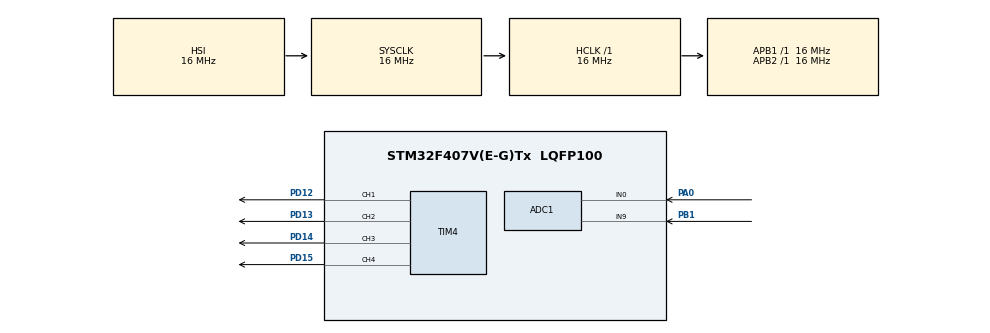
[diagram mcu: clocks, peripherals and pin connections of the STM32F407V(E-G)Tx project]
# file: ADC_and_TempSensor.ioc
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ADC1.Channel-0\#ChannelRegularConversion=ADC_CHANNEL_0
ADC1.ContinuousConvMode=ENABLE
ADC1.NbrOfConversionFlag=1
ADC1.Rank-0\#ChannelRegularConversion=1
ADC1.SamplingTime-0\#ChannelRegularConversion=ADC_SAMPLETIME_480CYCLES
ADC1.master=1
Mcu.Family=STM32F4
Mcu.Name=STM32F407V(E-G)Tx
Mcu.Package=LQFP100
NVIC.PriorityGroup=NVIC_PRIORITYGROUP_4
PA0-WKUP.Signal=ADCx_IN0
PB1.Signal=ADCx_IN9
PD12.Signal=S_TIM4_CH1
PD13.Signal=S_TIM4_CH2
PD14.Signal=S_TIM4_CH3
PD15.Signal=S_TIM4_CH4
ProjectManager.HeapSize=0x200
ProjectManager.StackSize=0x400
ProjectManager.TargetToolchain=STM32CubeIDE
RCC.AHBFreq_Value=16000000
RCC.APB1Freq_Value=16000000
RCC.APB2Freq_Value=16000000
RCC.CortexFreq_Value=16000000
RCC.HSE_VALUE=25000000
RCC.HSI_VALUE=16000000
RCC.LSE_VALUE=32768
RCC.SYSCLKFreq_VALUE=16000000
RCC.VCOOutputFreq_Value=192000000
SH.ADCx_IN0.0=ADC1_IN0,IN0
SH.ADCx_IN9.0=ADC1_IN9,IN9
SH.S_TIM4_CH1.0=TIM4_CH1,PWM Generation1 CH1
SH.S_TIM4_CH2.0=TIM4_CH2,PWM Generation2 CH2
SH.S_TIM4_CH3.0=TIM4_CH3,PWM Generation3 CH3
SH.S_TIM4_CH4.0=TIM4_CH4,PWM Generation4 CH4
TIM4.Channel-PWM\ Generation1\ CH1=TIM_CHANNEL_1
TIM4.Channel-PWM\ Generation2\ CH2=TIM_CHANNEL_2
TIM4.Channel-PWM\ Generation3\ CH3=TIM_CHANNEL_3
TIM4.Channel-PWM\ Generation4\ CH4=TIM_CHANNEL_4
VP_ADC1_TempSens_Input.Mode=IN-TempSens
board=custom

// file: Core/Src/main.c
/* USER CODE BEGIN Header */
/**
  ******************************************************************************
  * @file           : main.c
  * @brief          : Main program body
  ******************************************************************************
  * @attention
  *
  * <h2><center>&copy; Copyright (c) 2021 STMicroelectronics.
  * All rights reserved.</center></h2>
  *
  * This software component is licensed by ST under BSD 3-Clause license,
  * the "License"; You may not use this file except in compliance with the
  * License. You may obtain a copy of the License at:
  *                        opensource.org/licenses/BSD-3-Clause
  *
  ******************************************************************************
  */
/* USER CODE END Header */
#include "main.h"

/* USER CODE BEGIN PD */
#define sensorChannel 0 // 0 - potentiometer, 9 - ext.TempSensor, 16 - internal TempSensor
/* USER CODE END PD */

ADC_HandleTypeDef hadc1;

TIM_HandleTypeDef htim4;

void SystemClock_Config(void);
static void MX_GPIO_Init(void);
static void MX_ADC1_Init(void);
static void MX_TIM4_Init(void);

int main(void)
{

  /* MCU Configuration--------------------------------------------------------*/

  /* Reset of all peripherals, Initializes the Flash interface and the Systick. */
  HAL_Init();

  /* Configure the system clock */
  SystemClock_Config();

  /* Initialize all configured peripherals */
  MX_GPIO_Init();
  MX_ADC1_Init();
  MX_TIM4_Init();
  /* USER CODE BEGIN 2 */
  uint32_t adcValue = 0;
  volatile HAL_StatusTypeDef adcPoolResult;

  HAL_ADC_Start(&hadc1);

  TIM4->CCR1 = 5;
  TIM4->CCR2 = 5;
  TIM4->CCR3 = 25;
  TIM4->CCR4 = 5;

  /* USER CODE END 2 */

  /* Infinite loop */
  /* USER CODE BEGIN WHILE */
#if sensorChannel == 0
  while (1)
  {
	  	  	  	  adcPoolResult = HAL_ADC_PollForConversion(&hadc1, 1);

	   			  if (adcPoolResult == HAL_OK)
	   				  adcValue = HAL_ADC_GetValue(&hadc1); // 0 V == 2 or 0; 3.3 V = 4095;

	   			  if (adcValue <= 100)
	   			  {
	   				  //HAL_GPIO_WritePin(GPIOD, GPIO_PIN_15, GPIO_PIN_SET);
	   				  HAL_TIM_PWM_Start(&htim4, TIM_CHANNEL_4);
	   				  HAL_TIM_PWM_Stop(&htim4, TIM_CHANNEL_1);
	   				  HAL_TIM_PWM_Stop(&htim4, TIM_CHANNEL_2);
	   				  HAL_TIM_PWM_Stop(&htim4, TIM_CHANNEL_3);
	   				  TIM4->CCR4 += 1;
	   				  //HAL_GPIO_WritePin(GPIOD, GPIO_PIN_12 | GPIO_PIN_13 | GPIO_PIN_14, GPIO_PIN_RESET);
	   			  }
	   			  else if (adcValue > 100 && adcValue <= 1500)
	   			  {
	   			  	  HAL_TIM_PWM_Stop(&htim4, TIM_CHANNEL_1);
	   			  	  HAL_TIM_PWM_Stop(&htim4, TIM_CHANNEL_2);
	   			  	  HAL_TIM_PWM_Stop(&htim4, TIM_CHANNEL_3);
	   			  	  TIM4->CCR4 += 2;
	   			  }
	   			   else if (adcValue > 1500 && adcValue <= 3500)
	   			  {
	   			  	   HAL_TIM_PWM_Stop(&htim4, TIM_CHANNEL_1);
	   			  	   HAL_TIM_PWM_Stop(&htim4, TIM_CHANNEL_2);
	   			  	   HAL_TIM_PWM_Stop(&htim4, TIM_CHANNEL_3);
	   			  	   TIM4->CCR4 += 5;
	   			  	   //TIM4->PSC = 100;
	   			  }
	   			   else if (adcValue > 3500 || adcValue == 4095)
	   			  {
	   			  	   HAL_TIM_PWM_Stop(&htim4, TIM_CHANNEL_1);
	   			  	   HAL_TIM_PWM_Stop(&htim4, TIM_CHANNEL_2);
	   			  	   HAL_TIM_PWM_Stop(&htim4, TIM_CHANNEL_4);
	   			  	   HAL_TIM_PWM_Start(&htim4, TIM_CHANNEL_3);
	   			  	   TIM4->CCR3 += 25;
	   			  		//			  HAL_GPIO_WritePin(GPIOD, GPIO_PIN_15, GPIO_PIN_RESET);
	   			  		//			  HAL_Delay(1000);
	   			  		//			  HAL_GPIO_WritePin(GPIOD, GPIO_PIN_14, GPIO_PIN_SET);
	   			  		//			  HAL_GPIO_WritePin(GPIOD, GPIO_PIN_12 | GPIO_PIN_13 | GPIO_PIN_15, GPIO_PIN_RESET);
	   			  					 // HAL_Delay(1000);
	   			  }
	   			  			 // HAL_ADC_ConvCpltCallback(&hadc1);
    /* USER CODE END WHILE */

    /* USER CODE BEGIN 3 */
  }
#elif sensorChannel == 9
	  while (1)
	  	   		  	{
	  	   		  		adcPoolResult = HAL_ADC_PollForConversion(&hadc1, 1);

	  	   		  	    if (adcPoolResult == HAL_OK) // Ext. TempSensor
	  	   		  		adcValue = HAL_ADC_GetValue(&hadc1); // -24C = 2.5 V; 100C  = 0.02V;

	  	   		  			  if (adcValue >= 2000) //2086 - low, 1842 - high Temp;
	  	   		  			  {
	  	   		  				  //HAL_GPIO_WritePin(GPIOD, GPIO_PIN_15, GPIO_PIN_SET);
	  	   		  				  HAL_TIM_PWM_Start(&htim4, TIM_CHANNEL_1);
	  	   		  				  HAL_TIM_PWM_Stop(&htim4, TIM_CHANNEL_2);
	  	   		  				  HAL_TIM_PWM_Stop(&htim4, TIM_CHANNEL_3);
	  	   		  				  HAL_TIM_PWM_Stop(&htim4, TIM_CHANNEL_4);
	  	   		  				  TIM4->CCR1 += 1;
	  	   		  				  //HAL_GPIO_WritePin(GPIOD, GPIO_PIN_12 | GPIO_PIN_13 | GPIO_PIN_14, GPIO_PIN_RESET);
	  	   		  	          }
	  	   		  			  else if (adcValue < 2000 && adcValue >= 1500)
	  	   		  			  {
	  	   		  				//HAL_TIM_PWM_Start(&htim4, TIM_CHANNEL_2);
	  	   		  				HAL_TIM_PWM_Stop(&htim4, TIM_CHANNEL_2);
	  	   		  				HAL_TIM_PWM_Stop(&htim4, TIM_CHANNEL_3);
	  	   		  				HAL_TIM_PWM_Stop(&htim4, TIM_CHANNEL_4);
	  	   		  				TIM4->CCR1 += 7;
	  	   		  			  }
	  	   		  			  else if (adcValue < 1500 && adcValue >= 900)
	  	   		  			  {
	  	   		  			    HAL_TIM_PWM_Start(&htim4, TIM_CHANNEL_3);
	  	   		  			  	HAL_TIM_PWM_Stop(&htim4, TIM_CHANNEL_1);
	  	   		  			  	HAL_TIM_PWM_Stop(&htim4, TIM_CHANNEL_2);
	  	   		  			  	HAL_TIM_PWM_Stop(&htim4, TIM_CHANNEL_4);
	  	   		  			  	TIM4->CCR3 += 25;
	  	   		  			   }
	    }
#elif sensorChannel == 16
	  while (1)
	   		  	{
	   		  		adcPoolResult = HAL_ADC_PollForConversion(&hadc1, 1);

	   		  	    if (adcPoolResult == HAL_OK)
	   		  		adcValue = HAL_ADC_GetValue(&hadc1); // internal TempSensor

	   		  			  if (adcValue <= 1060)
	   		  			  {
	   		  				  //HAL_GPIO_WritePin(GPIOD, GPIO_PIN_15, GPIO_PIN_SET);
	   		  				  HAL_TIM_PWM_Start(&htim4, TIM_CHANNEL_2);
	   		  				  HAL_TIM_PWM_Stop(&htim4, TIM_CHANNEL_1);
	   		  				  HAL_TIM_PWM_Stop(&htim4, TIM_CHANNEL_3);
	   		  				  HAL_TIM_PWM_Stop(&htim4, TIM_CHANNEL_4);
	   		  				  TIM4->CCR2 += 1;
	   		  				  //HAL_GPIO_WritePin(GPIOD, GPIO_PIN_12 | GPIO_PIN_13 | GPIO_PIN_14, GPIO_PIN_RESET);
	   		  	          }
	   		  			  else if (adcValue > 1060 && adcValue < 1070)
	   		  			  {
	   		  				//HAL_TIM_PWM_Start(&htim4, TIM_CHANNEL_2);
	   		  				HAL_TIM_PWM_Stop(&htim4, TIM_CHANNEL_1);
	   		  				HAL_TIM_PWM_Stop(&htim4, TIM_CHANNEL_3);
	   		  				HAL_TIM_PWM_Stop(&htim4, TIM_CHANNEL_4);
	   		  				TIM4->CCR2 += 7;
	   		  			  }
	   		  			  else if (adcValue > 1070 && adcValue < 1090)
	   		  			  {
	   		  			    HAL_TIM_PWM_Start(&htim4, TIM_CHANNEL_3);
	   		  			  	HAL_TIM_PWM_Stop(&htim4, TIM_CHANNEL_1);
	   		  			  	HAL_TIM_PWM_Stop(&htim4, TIM_CHANNEL_2);
	   		  			  	HAL_TIM_PWM_Stop(&htim4, TIM_CHANNEL_4);
	   		  			  	TIM4->CCR3 += 25;
	   		  			   }
  }
#endif
  /* USER CODE END 3 */
}

void SystemClock_Config(void)
{
  RCC_OscInitTypeDef RCC_OscInitStruct = {0};
  RCC_ClkInitTypeDef RCC_ClkInitStruct = {0};

  /** Configure the main internal regulator output voltage
  */
  __HAL_RCC_PWR_CLK_ENABLE();
  __HAL_PWR_VOLTAGESCALING_CONFIG(PWR_REGULATOR_VOLTAGE_SCALE1);
  /** Initializes the RCC Oscillators according to the specified parameters
  * in the RCC_OscInitTypeDef structure.
  */
  RCC_OscInitStruct.OscillatorType = RCC_OSCILLATORTYPE_HSI;
  RCC_OscInitStruct.HSIState = RCC_HSI_ON;
  RCC_OscInitStruct.HSICalibrationValue = RCC_HSICALIBRATION_DEFAULT;
  RCC_OscInitStruct.PLL.PLLState = RCC_PLL_NONE;
  if (HAL_RCC_OscConfig(&RCC_OscInitStruct) != HAL_OK)
  {
    Error_Handler();
  }
  /** Initializes the CPU, AHB and APB buses clocks
  */
  RCC_ClkInitStruct.ClockType = RCC_CLOCKTYPE_HCLK|RCC_CLOCKTYPE_SYSCLK
                              |RCC_CLOCKTYPE_PCLK1|RCC_CLOCKTYPE_PCLK2;
  RCC_ClkInitStruct.SYSCLKSource = RCC_SYSCLKSOURCE_HSI;
  RCC_ClkInitStruct.AHBCLKDivider = RCC_SYSCLK_DIV1;
  RCC_ClkInitStruct.APB1CLKDivider = RCC_HCLK_DIV1;
  RCC_ClkInitStruct.APB2CLKDivider = RCC_HCLK_DIV1;

  if (HAL_RCC_ClockConfig(&RCC_ClkInitStruct, FLASH_LATENCY_0) != HAL_OK)
  {
    Error_Handler();
  }
}

static void MX_ADC1_Init(void)
{

  ADC_ChannelConfTypeDef sConfig = {0};

  /** Configure the global features of the ADC (Clock, Resolution, Data Alignment and number of conversion)
  */
  hadc1.Instance = ADC1;
  hadc1.Init.ClockPrescaler = ADC_CLOCK_SYNC_PCLK_DIV2;
  hadc1.Init.Resolution = ADC_RESOLUTION_12B;
  hadc1.Init.ScanConvMode = DISABLE;
  hadc1.Init.ContinuousConvMode = ENABLE;
  hadc1.Init.DiscontinuousConvMode = DISABLE;
  hadc1.Init.ExternalTrigConvEdge = ADC_EXTERNALTRIGCONVEDGE_NONE;
  hadc1.Init.ExternalTrigConv = ADC_SOFTWARE_START;
  hadc1.Init.DataAlign = ADC_DATAALIGN_RIGHT;
  hadc1.Init.NbrOfConversion = 1;
  hadc1.Init.DMAContinuousRequests = DISABLE;
  hadc1.Init.EOCSelection = ADC_EOC_SINGLE_CONV;
  if (HAL_ADC_Init(&hadc1) != HAL_OK)
  {
    Error_Handler();
  }
  /** Configure for the selected ADC regular channel its corresponding rank in the sequencer and its sample time.
  */
  sConfig.Channel = ADC_CHANNEL_0;
  sConfig.Rank = 1;
  sConfig.SamplingTime = ADC_SAMPLETIME_480CYCLES;
  if (HAL_ADC_ConfigChannel(&hadc1, &sConfig) != HAL_OK)
  {
    Error_Handler();
  }

}

static void MX_TIM4_Init(void)
{

  TIM_MasterConfigTypeDef sMasterConfig = {0};
  TIM_OC_InitTypeDef sConfigOC = {0};

  htim4.Instance = TIM4;
  htim4.Init.Prescaler = 0;
  htim4.Init.CounterMode = TIM_COUNTERMODE_UP;
  htim4.Init.Period = 65535;
  htim4.Init.ClockDivision = TIM_CLOCKDIVISION_DIV1;
  htim4.Init.AutoReloadPreload = TIM_AUTORELOAD_PRELOAD_DISABLE;
  if (HAL_TIM_PWM_Init(&htim4) != HAL_OK)
  {
    Error_Handler();
  }
  sMasterConfig.MasterOutputTrigger = TIM_TRGO_RESET;
  sMasterConfig.MasterSlaveMode = TIM_MASTERSLAVEMODE_DISABLE;
  if (HAL_TIMEx_MasterConfigSynchronization(&htim4, &sMasterConfig) != HAL_OK)
  {
    Error_Handler();
  }
  sConfigOC.OCMode = TIM_OCMODE_PWM1;
  sConfigOC.Pulse = 0;
  sConfigOC.OCPolarity = TIM_OCPOLARITY_HIGH;
  sConfigOC.OCFastMode = TIM_OCFAST_DISABLE;
  if (HAL_TIM_PWM_ConfigChannel(&htim4, &sConfigOC, TIM_CHANNEL_1) != HAL_OK)
  {
    Error_Handler();
  }
  if (HAL_TIM_PWM_ConfigChannel(&htim4, &sConfigOC, TIM_CHANNEL_2) != HAL_OK)
  {
    Error_Handler();
  }
  if (HAL_TIM_PWM_ConfigChannel(&htim4, &sConfigOC, TIM_CHANNEL_3) != HAL_OK)
  {
    Error_Handler();
  }
  if (HAL_TIM_PWM_ConfigChannel(&htim4, &sConfigOC, TIM_CHANNEL_4) != HAL_OK)
  {
    Error_Handler();
  }
  HAL_TIM_MspPostInit(&htim4);

}

static void MX_GPIO_Init(void)
{

  /* GPIO Ports Clock Enable */
  __HAL_RCC_GPIOA_CLK_ENABLE();
  __HAL_RCC_GPIOB_CLK_ENABLE();
  __HAL_RCC_GPIOD_CLK_ENABLE();

}

void Error_Handler(void)
{
  __disable_irq();
  while (1)
  {
  }
}

/************************ (C) COPYRIGHT STMicroelectronics *****END OF FILE****/
